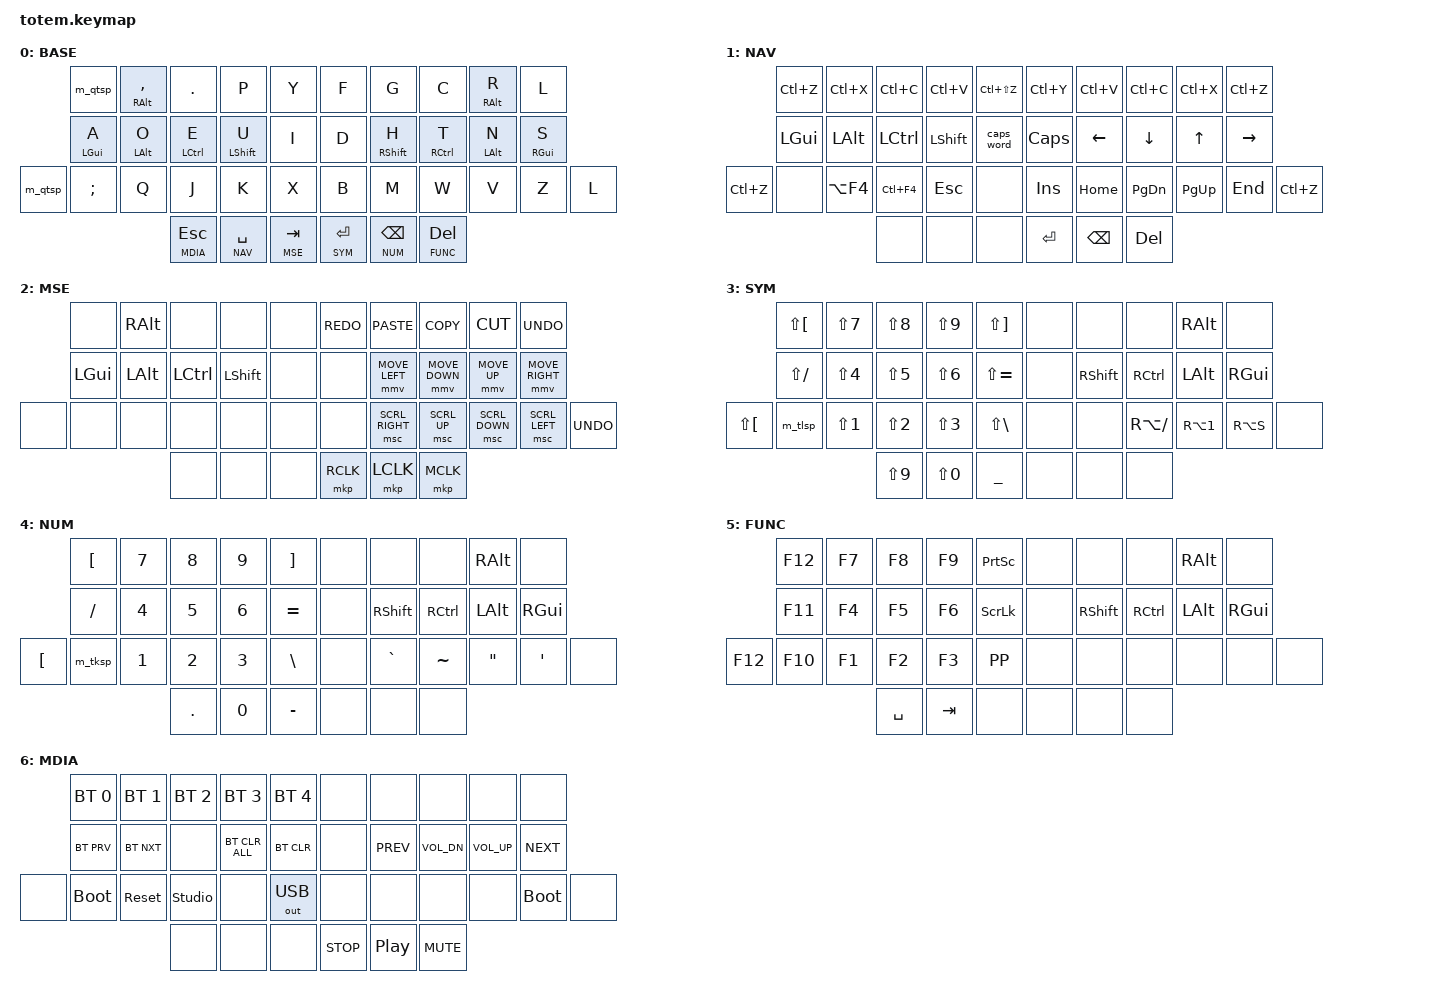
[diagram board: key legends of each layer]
//
//                                                        ▀▀▀▀▀     ▀▀▀▀▀          ▀▀█▀▀
//                                                        ▄▀▀▀▄  ▄  ▄▀▀▀▄  ▄  ▄▀▀▀▄  █  ▄▀▀▀▄
//                                                        █   █  █  █   █  █  █   █  █  █   █
//                                                         ▀▀▀   █   ▀▀▀   █   ▀▀▀   ▀   ▀▀▀
//                                                               █      ▄▄▄█▄▄▄    █   █  
//                                                               ▀      █  █  █     █▄█
//                                                             ▀▀▀▀▀    █  █  █      ▀
//                                                                      ▀  ▀  ▀
//
// ▄▄▄▄▄▄▄▄▄▄▄▄▄▄▄▄▄▄▄▄▄▄▄▄▄▄▄▄▄▄▄▄▄▄▄▄▄▄▄▄▄▄▄▄▄▄▄▄▄▄▄▄▄▄▄▄▄▄▄▄▄▄▄▄▄▄▄▄▄▄▄▄▄▄▄▄▄▄▄▄▄▄▄▄▄▄▄▄▄▄▄▄▄▄▄▄▄▄▄▄▄▄▄▄▄▄▄▄▄▄▄▄▄▄▄▄▄▄▄▄▄▄▄▄▄▄▄▄▄▄▄▄▄▄▄▄▄▄▄▄▄▄▄▄▄▄▄▄▄

#include <behaviors.dtsi>
#include <dt-bindings/zmk/bt.h>
#include <dt-bindings/zmk/ext_power.h>
#include <dt-bindings/zmk/keys.h>
#include <dt-bindings/zmk/pointing.h>
#include <dt-bindings/zmk/outputs.h>

#define BASE 0
#define NAV  1
#define MSE  2
#define SYM  3
#define NUM  4
#define FUNC 5
#define MDIA 6

/ {
    macros {
        // Sends ` followed by Space
        m_tksp: m_tksp {
            compatible = "zmk,behavior-macro";
            #binding-cells = <0>;
            bindings = <&kp GRAVE &kp SPACE>;
        };

        // Sends ' followed by Space
        m_qtsp: m_qtsp {
            compatible = "zmk,behavior-macro";
            #binding-cells = <0>;
            bindings = <&kp SQT &kp SPACE>;
        };

        // Sends ~ followed by Space
        m_tlsp: m_tlsp {
            compatible = "zmk,behavior-macro";
            #binding-cells = <0>;
            bindings = <&kp LS(GRAVE) &kp SPACE>;
        };
    };
};

/ {
    behaviors {

/* --- TailorKey HRM Behaviors for Totem (38-key Matrix) --- */

        // Left Pinky
        hrm_lp: hrm_lp {
            compatible = "zmk,behavior-hold-tap";
            #binding-cells = <2>;
            tapping-term-ms = <260>;
            bindings = <&kp>, <&kp>;
            flavor = "tap-preferred";
            quick-tap-ms = <300>;
            require-prior-idle-ms = <150>;
            hold-trigger-key-positions = <5 6 7 8 9 15 16 17 18 19 26 27 28 29 30 31 32 33 34 35 36 37>;
            hold-trigger-on-release;
        };

        // Left Ring
        hrm_lr: hrm_lr {
            compatible = "zmk,behavior-hold-tap";
            #binding-cells = <2>;
            tapping-term-ms = <240>;
            bindings = <&kp>, <&kp>;
            flavor = "tap-preferred";
            quick-tap-ms = <300>;
            require-prior-idle-ms = <150>;
            hold-trigger-key-positions = <5 6 7 8 9 15 16 17 18 19 26 27 28 29 30 31 32 33 34 35 36 37>;
            hold-trigger-on-release;
        };

        // Left Middle
        hrm_lm: hrm_lm {
            compatible = "zmk,behavior-hold-tap";
            #binding-cells = <2>;
            tapping-term-ms = <230>;
            bindings = <&kp>, <&kp>;
            flavor = "tap-preferred";
            quick-tap-ms = <300>;
            require-prior-idle-ms = <150>;
            hold-trigger-key-positions = <5 6 7 8 9 15 16 17 18 19 26 27 28 29 30 31 32 33 34 35 36 37>;
            hold-trigger-on-release;
        };

        // Left Index
        hrm_li: hrm_li {
            compatible = "zmk,behavior-hold-tap";
            #binding-cells = <2>;
            tapping-term-ms = <190>;
            bindings = <&kp>, <&kp>;
            flavor = "tap-preferred";
            quick-tap-ms = <300>;
            require-prior-idle-ms = <100>;
            hold-trigger-key-positions = <5 6 7 8 9 15 16 17 18 19 26 27 28 29 30 31 32 33 34 35 36 37>;
            hold-trigger-on-release;
        };

        // Right Index
        hrm_ri: hrm_ri {
            compatible = "zmk,behavior-hold-tap";
            #binding-cells = <2>;
            tapping-term-ms = <190>;
            bindings = <&kp>, <&kp>;
            flavor = "tap-preferred";
            quick-tap-ms = <300>;
            require-prior-idle-ms = <100>;
            hold-trigger-key-positions = <0 1 2 3 4 10 11 12 13 14 20 21 22 23 24 25 32 33 34 35 36 37>;
            hold-trigger-on-release;
        };

        // Right Middle
        hrm_rm: hrm_rm {
            compatible = "zmk,behavior-hold-tap";
            #binding-cells = <2>;
            tapping-term-ms = <230>;
            bindings = <&kp>, <&kp>;
            flavor = "tap-preferred";
            quick-tap-ms = <300>;
            require-prior-idle-ms = <150>;
            hold-trigger-key-positions = <0 1 2 3 4 10 11 12 13 14 20 21 22 23 24 25 32 33 34 35 36 37>;
            hold-trigger-on-release;
        };

        // Right Ring
        hrm_rr: hrm_rr {
            compatible = "zmk,behavior-hold-tap";
            #binding-cells = <2>;
            tapping-term-ms = <240>;
            bindings = <&kp>, <&kp>;
            flavor = "tap-preferred";
            quick-tap-ms = <300>;
            require-prior-idle-ms = <150>;
            hold-trigger-key-positions = <0 1 2 3 4 10 11 12 13 14 20 21 22 23 24 25 32 33 34 35 36 37>;
            hold-trigger-on-release;
        };

        // Right Pinky
        hrm_rp: hrm_rp {
            compatible = "zmk,behavior-hold-tap";
            #binding-cells = <2>;
            tapping-term-ms = <260>;
            bindings = <&kp>, <&kp>;
            flavor = "tap-preferred";
            quick-tap-ms = <300>;
            require-prior-idle-ms = <150>;
            hold-trigger-key-positions = <0 1 2 3 4 10 11 12 13 14 20 21 22 23 24 25 32 33 34 35 36 37>;
            hold-trigger-on-release;
        };
        
        thumbs: thumbs {
            compatible = "zmk,behavior-hold-tap";
            #binding-cells = <2>;
            tapping-term-ms = <200>;
            bindings = <&mo>, <&kp>;
            flavor = "balanced";
            quick-tap-ms = <300>;
        };

    };
};

/ {
    combos {
        compatible = "zmk,combos";

        // å (aa) - Left O+E (Ring+Middle)
        combo_aa {
            timeout-ms = <40>;
            key-positions = <14 15>;
            bindings = <&kp RA(W)>;
            layers = <BASE>;
            require-prior-idle-ms = <100>;
        };

        // æ (ae) - Left E+U (Middle+Index)
        combo_ae {
            timeout-ms = <40>;
            key-positions = <15 16>;
            bindings = <&kp RA(Z)>;
            layers = <BASE>;
            require-prior-idle-ms = <100>;
        };

        // þ (thorn) - Left Top Row ' + , (Ring+Middle)
        combo_thorn {
            timeout-ms = <40>;
            key-positions = <2 3>;
            bindings = <&kp RA(T)>;
            layers = <BASE>;
            require-prior-idle-ms = <100>;
        };

        // ´ (Acute Accent) - Right T+N (Middle+Ring)
        combo_accent {
            timeout-ms = <40>;
            key-positions = <20 21>;
            bindings = <&kp SQT>; // Dead-key for International layouts
            layers = <BASE>;
            require-prior-idle-ms = <100>;
        };

        // ø (Norwegian oe) - Right H+T (Index+Middle)
        combo_no_oe {
            timeout-ms = <40>;
            key-positions = <19 20>;
            bindings = <&kp RA(L)>;
            layers = <BASE>;
            require-prior-idle-ms = <100>;
        };

        // ö (Icelandic oe) - Right H+N (Index+Ring) [Wide Skip]
        combo_is_oe {
            timeout-ms = <40>;
            key-positions = <19 21>;
            bindings = <&kp RA(P)>; // Correct AltGr binding for ö
            layers = <BASE>;
            require-prior-idle-ms = <100>;
        };

        // ð (eth) - Right Top Row C+R (Index+Middle)
        combo_eth {
            timeout-ms = <40>;
            key-positions = <8 9>;
            bindings = <&kp RA(D)>;
            layers = <BASE>;
            require-prior-idle-ms = <100>;
        };
    };
};

/ {
    keymap {
        compatible = "zmk,keymap";

        base {
            display-name = "BASE";
            bindings = <
//  |          0         |         1          |         2          |         3          |         4          |         5          |   |         6          |         7          |         8          |         9          |         10         |         11         |
                         &m_qtsp              &hrm_lr RALT COMMA   &kp DOT              &kp P                &kp Y                    &kp F                &kp G                &kp C                &hrm_rr RALT R       &kp L
                         &hrm_lp LGUI A       &hrm_lr LALT O       &hrm_lm LCTRL E      &hrm_li LSHFT U      &kp I                    &kp D                &hrm_ri RSHFT H      &hrm_rm RCTRL T      &hrm_rr LALT N       &hrm_rp RGUI S
    &m_qtsp              &kp SEMI             &kp Q                &kp J                &kp K                &kp X                    &kp B                &kp M                &kp W                &kp V                &kp Z                &kp L
                                                                   &thumbs MDIA ESC     &thumbs NAV SPACE    &thumbs MSE TAB          &thumbs SYM RET      &thumbs NUM BSPC     &thumbs FUNC DEL
            >;
        };

        nav {
            display-name = "NAV";
            bindings = <
//  |          0         |         1          |         2          |         3          |         4          |         5          |   |         6          |         7          |         8          |         9          |         10         |         11         |
                         &kp LC(Z)            &kp LC(X)            &kp LC(C)            &kp LC(V)            &kp LC(LS(Z))            &kp LC(Y)            &kp LC(V)            &kp LC(C)            &kp LC(X)            &kp LC(Z)
                         &kp LGUI             &kp LALT             &kp LCTRL            &kp LSHFT            &caps_word               &kp CAPS             &kp LEFT             &kp DOWN             &kp UP               &kp RIGHT
    &kp LC(Z)            &none                &kp LA(F4)           &kp LC(F4)           &kp ESC              &none                    &kp INS              &kp HOME             &kp PG_DN            &kp PG_UP            &kp END              &kp LC(Z)
                                                                   &none                &none                &none                    &kp RET              &kp BSPC             &kp DEL
            >;
        };

        mse {
            display-name = "MSE";
            bindings = <
//  |          0         |         1          |         2          |         3          |         4          |         5          |   |         6          |         7          |         8          |         9          |         10         |         11         |
                         &none                &kp RALT             &none                &none                &none                    &kp K_REDO           &kp K_PASTE          &kp K_COPY           &kp K_CUT            &kp K_UNDO
                         &kp LGUI             &kp LALT             &kp LCTRL            &kp LSHFT            &none                    &none                &mmv MOVE_LEFT       &mmv MOVE_DOWN       &mmv MOVE_UP         &mmv MOVE_RIGHT
    &none                &none                &none                &none                &none                &none                    &none                &msc SCRL_RIGHT      &msc SCRL_UP         &msc SCRL_DOWN       &msc SCRL_LEFT       &kp K_UNDO
                                                                   &none                &none                &none                    &mkp RCLK            &mkp LCLK            &mkp MCLK
            >;
        };

        sym {
            display-name = "SYM";
            bindings = <
//  |          0         |         1          |         2          |         3          |         4          |         5          |   |         6          |         7          |         8          |         9          |         10         |         11         |
                         &kp LS(LBKT)         &kp LS(N7)           &kp LS(N8)           &kp LS(N9)           &kp LS(RBKT)             &none                &none                &none                &kp RALT             &none
                         &kp LS(FSLH)         &kp LS(N4)           &kp LS(N5)           &kp LS(N6)           &kp LS(EQUAL)            &none                &kp RSHFT            &kp RCTRL            &kp LALT             &kp RGUI
    &kp LS(LBKT)         &m_tlsp              &kp LS(N1)           &kp LS(N2)           &kp LS(N3)           &kp LS(BSLH)             &none                &none                &kp RA(FSLH)         &kp RA(N1)           &kp RA(S)            &none
                                                                   &kp LS(N9)           &kp LS(N0)           &kp UNDER                &none                &none                &none
            >;
        };

        num {
            display-name = "NUM";
            bindings = <
//  |          0         |         1          |         2          |         3          |         4          |         5          |   |         6          |         7          |         8          |         9          |         10         |         11         |
                         &kp LBKT             &kp N7               &kp N8               &kp N9               &kp RBKT                 &none                &none                &none                &kp RALT             &none
                         &kp FSLH             &kp N4               &kp N5               &kp N6               &kp EQUAL                &none                &kp RSHFT            &kp RCTRL            &kp LALT             &kp RGUI
    &kp LBKT             &m_tksp              &kp N1               &kp N2               &kp N3               &kp BSLH                 &none                &kp GRAVE            &kp TILDE            &kp DQT              &kp SQT              &none
                                                                   &kp DOT              &kp N0               &kp MINUS                &none                &none                &none
            >;
        };

        func {
            display-name = "FUNC";
            bindings = <
//  |          0         |         1          |         2          |         3          |         4          |         5          |   |         6          |         7          |         8          |         9          |         10         |         11         |
                         &kp F12              &kp F7               &kp F8               &kp F9               &kp PSCRN                &none                &none                &none                &kp RALT             &none
                         &kp F11              &kp F4               &kp F5               &kp F6               &kp SLCK                 &none                &kp RSHFT            &kp RCTRL            &kp LALT             &kp RGUI
    &kp F12              &kp F10              &kp F1               &kp F2               &kp F3               &kp K_PP                 &none                &none                &none                &none                &none                &none
                                                                   &kp SPACE            &kp TAB              &none                    &none                &none                &none
            >;
        };

        mdia {
            display-name = "MDIA";
            bindings = <
//  |          0         |         1          |         2          |         3          |         4          |         5          |   |         6          |         7          |         8          |         9          |         10         |         11         |
                         &bt BT_SEL 0         &bt BT_SEL 1         &bt BT_SEL 2         &bt BT_SEL 3         &bt BT_SEL 4             &none                &none                &none                &none                &none
                         &bt BT_PRV           &bt BT_NXT           &none                &bt BT_CLR_ALL       &bt BT_CLR               &none                &kp C_PREV           &kp C_VOL_DN         &kp C_VOL_UP         &kp C_NEXT
    &none                &bootloader          &sys_reset           &studio_unlock       &none                &out OUT_USB             &none                &none                &none                &none                &bootloader          &none
                                                                   &none                &none                &none                    &kp C_STOP           &kp C_PP             &kp C_MUTE
            >;
        };
   };
};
